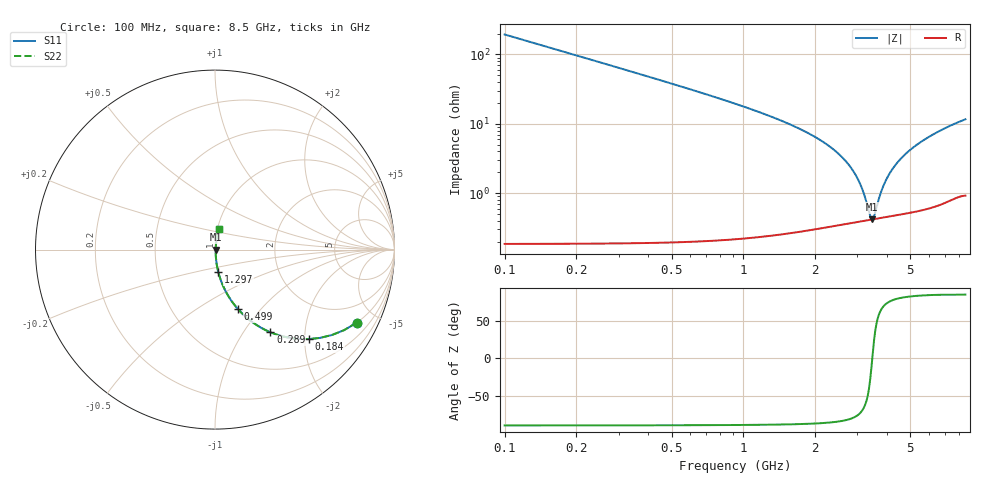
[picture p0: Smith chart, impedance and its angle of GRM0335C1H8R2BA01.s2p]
!Murata Part Number: GRM0335C1H8R2BA01
!These Parameters are Measured in Series Mode Connection
!Data Generated on Mar 30, 2021
!  o--ll--o
!Port1  Port2
!  o------o
!Operation Temp=25[degC], DC Bias Voltage=0[V]
!Freq. Start=100[MHz] Stop=9[GHz] 401[Steps]
# Hz S RI R 50
!Freq.(Hz) S11(Real) S11(Imag) S21(Real) S21(Imag) S12(Real) S12(Imag) S22(Real) S22(Imag)
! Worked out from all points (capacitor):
!   401 points, 100 MHz to 8.5 GHz, reference 50 ohm
!   read as one part in series: C = 8.2 pF near 142 MHz
!   lowest |Z| = 418 mohm at 3.46 GHz (marker M1)
!   series resonance near 3.463 GHz, so ESL is about 260 pH
!   S11 on the Smith chart (normalised r, x): 100 MHz: 1.00, -3.88; 184 MHz: 1.00, -2.10; 289 MHz: 1.00, -1.33; 499 MHz: 1.00, -0.76; 1.297 GHz: 1.00, -0.26; 8.5 GHz: 1.02, +0.23
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1e8  0.7897 -0.407  0.2103 0.407  0.2103 0.407  0.7897 -0.407
1.84e8  0.5252 -0.4985  0.4748 0.4985  0.4748 0.4985  0.5252 -0.4985
2.89e8  0.3083 -0.4604  0.6917 0.4604  0.6917 0.4604  0.3083 -0.4604
3.73e8  0.2099 -0.4054  0.7901 0.4054  0.7901 0.4054  0.2099 -0.4054
4.99e8  0.1278 -0.3313  0.8722 0.3313  0.8722 0.3313  0.1278 -0.3313
8.35e8  0.0474 -0.2078  0.9526 0.2078  0.9526 0.2078  0.0474 -0.2078
1.297e9  0.0185 -0.1255  0.9815 0.1255  0.9815 0.1255  0.0185 -0.1255
1.507e9  0.0132 -0.1023  0.9868 0.1023  0.9868 0.1023  0.0132 -0.1023
2.41e9  0.00503 -0.0409  0.995 0.0409  0.995 0.0409  0.00503 -0.0409
2.914e9  0.00413 -0.0191  0.9959 0.0191  0.9959 0.0191  0.00413 -0.0191
3.124e9  0.00405 -0.0114  0.996 0.0114  0.996 0.0114  0.00405 -0.0114
3.397e9  0.00412 -0.00213  0.9959 0.00213  0.9959 0.00213  0.00412 -0.00213
3.46e9  0.00416 -0.000109  0.9958 0.000109  0.9958 0.000109  0.00416 -0.000109
3.523e9  0.00421 0.00188  0.9958 -0.00188  0.9958 -0.00188  0.00421 0.00188
3.712e9  0.0044 0.00764  0.9956 -0.00764  0.9956 -0.00764  0.0044 0.00764
3.88e9  0.00461 0.0125  0.9954 -0.0125  0.9954 -0.0125  0.00461 0.0125
4.069e9  0.0049 0.0178  0.9951 -0.0178  0.9951 -0.0178  0.0049 0.0178
4.3e9  0.00531 0.024  0.9947 -0.024  0.9947 -0.024  0.00531 0.024
4.888e9  0.00663 0.0388  0.9934 -0.0388  0.9934 -0.0388  0.00663 0.0388
5.707e9  0.00906 0.0575  0.9909 -0.0575  0.9909 -0.0575  0.00906 0.0575
7.114e9  0.015 0.0868  0.985 -0.0868  0.985 -0.0868  0.015 0.0868
8.5e9  0.022 0.1121  0.978 -0.1121  0.978 -0.1121  0.022 0.1121
